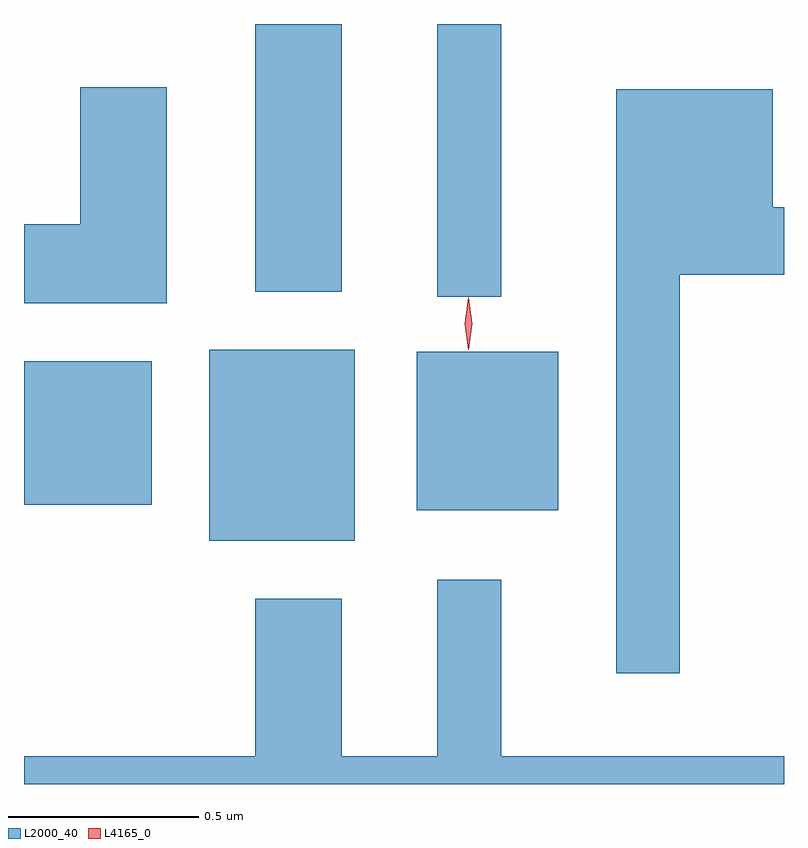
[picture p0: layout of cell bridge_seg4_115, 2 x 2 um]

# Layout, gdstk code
import gdstk
lib = gdstk.Library(unit=1e-6, precision=1e-09)
def R(c, l, rs):  # rectangles x0, y0, x1, y1
    for r in rs: c.add(gdstk.rectangle(r[:2], r[2:], *l))
def P(c, l, *ps):  # polygons
    for p in ps: c.add(gdstk.Polygon(p, *l))
L2000_40 = (2000, 40)
L4165_0 = (4165, 0)

bridge_seg4_115 = lib.new_cell('bridge_seg4_115')
R(bridge_seg4_115, L2000_40, [(824.141,1371.051,824.524,1371.554), (824.686,1371.131,825.059,1371.549), (823.653,1371.146,823.989,1371.524), (824.741,1371.693,824.909,1372.411), (824.261,1371.706,824.489,1372.411)])
P(bridge_seg4_115, L2000_40, [(824.029,1372.244),(823.801,1372.244),(823.801,1371.884),(823.653,1371.884),(823.653,1371.676),(824.029,1371.676)],
  [(825.379,1371.751),(825.653,1371.751),(825.653,1371.929),(825.624,1371.929),(825.624,1372.239),(825.211,1372.239),(825.211,1370.703),(825.379,1370.703)],
  [(825.653,1370.484),(824.909,1370.484),(824.909,1370.948),(824.741,1370.948),(824.741,1370.484),(824.489,1370.484),(824.489,1370.899),(824.261,1370.899),(824.261,1370.484),(823.653,1370.484),(823.653,1370.411),(825.653,1370.411)])
P(bridge_seg4_115, L4165_0, [(824.822,1371.554),(824.813,1371.622),(824.822,1371.69),(824.823,1371.69),(824.823,1371.69),(824.833,1371.622),(824.823,1371.554),(824.823,1371.554)],
  [(824.822,1371.558),(824.813,1371.622),(824.822,1371.687),(824.823,1371.687),(824.823,1371.687),(824.833,1371.622),(824.823,1371.558),(824.823,1371.558)])

lib.write_gds('bridge_seg4_115.gds')
